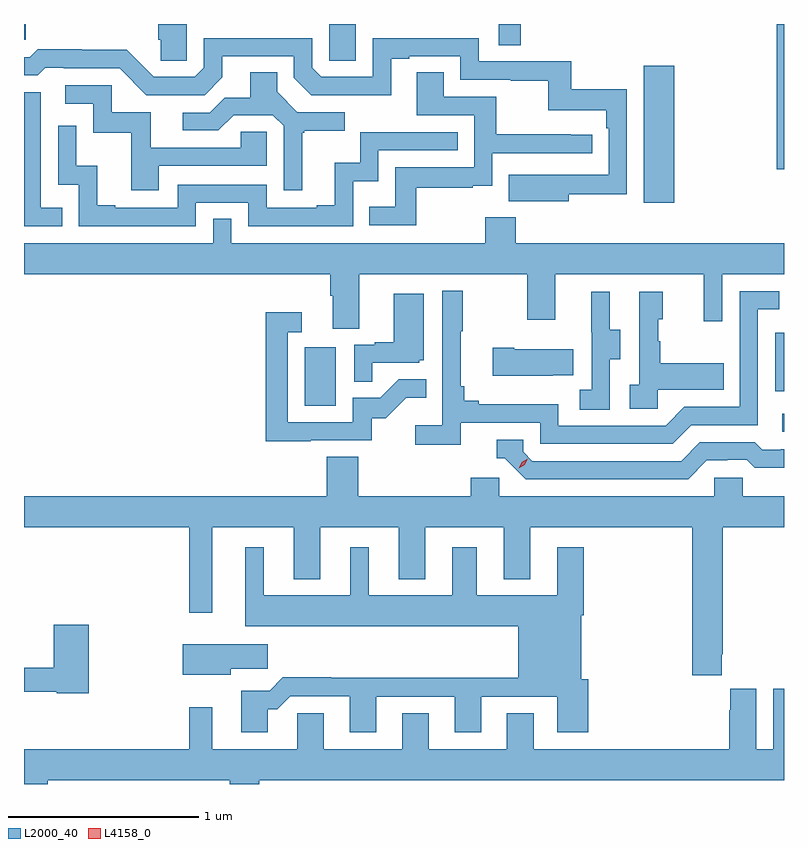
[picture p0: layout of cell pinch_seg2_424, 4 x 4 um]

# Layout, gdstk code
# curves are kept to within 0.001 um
import gdstk
lib = gdstk.Library(unit=1e-6, precision=1e-09)
def R(c, l, rs):  # rectangles x0, y0, x1, y1
    for r in rs: c.add(gdstk.rectangle(r[:2], r[2:], *l))
def P(c, l, *ps):  # polygons
    for p in ps: c.add(gdstk.Polygon(p, *l))
L2000_40 = (2000, 40)
L4158_0 = (4158, 0)

pinch_seg2_424 = lib.new_cell('pinch_seg2_424')
R(pinch_seg2_424, L2000_40, [(915.309,624.162,915.317,624.258), (912.794,624.3,912.958,624.607), (915.27,624.375,915.317,624.684), (914.579,625.368,914.74,626.089), (915.278,625.545,915.317,626.309), (912.924,626.116,913.063,626.309), (913.815,626.197,913.931,626.309), (911.317,626.226,911.325,626.309)])
P(pinch_seg2_424, L2000_40, [(912.174,626.309),(912.023,626.309),(912.023,626.226),(912.037,626.226),(912.037,626.116),(912.174,626.116)],
  [(914.185,625.414),(914.49,625.414),(914.49,625.966),(914.197,625.966),(914.197,626.112),(913.71,626.112),(913.71,626.235),(913.152,626.235),(913.152,626.031),(912.882,626.031),(912.834,626.079),(912.834,626.235),(912.264,626.235),(912.264,626.079),(912.216,626.031),(912,626.031),(911.858,626.173),(911.622,626.173),(911.622,626.176),(911.389,626.176),(911.347,626.133),(911.317,626.133),(911.317,626.04),(911.389,626.04),(911.428,626.079),(911.527,626.079),(911.527,626.076),(911.82,626.076),(911.961,625.935),(912.267,625.935),(912.361,626.029),(912.361,626.139),(912.738,626.139),(912.738,626.025),(912.828,625.935),(913.249,625.934),(913.249,626.127),(913.345,626.127),(913.345,626.139),(913.614,626.139),(913.614,626.016),(913.879,626.016),(913.879,626.011),(914.076,626.011),(914.076,625.856),(914.381,625.856),(914.381,625.76),(914.394,625.76),(914.394,625.515),(913.867,625.516),(913.867,625.376),(914.185,625.376)],
  [(913.381,625.446),(913.679,625.446),(913.679,625.457),(913.782,625.457),(913.782,625.629),(914.308,625.629),(914.308,625.725),(914.195,625.725),(914.195,625.73),(913.802,625.73),(913.802,625.926),(913.525,625.926),(913.525,626.054),(913.385,626.054),(913.385,625.83),(913.686,625.83),(913.686,625.554),(913.27,625.554),(913.27,625.348),(913.135,625.348),(913.135,625.251),(913.381,625.251)],
  [(912.781,625.737),(912.793,625.737),(912.793,625.748),(913.006,625.748),(913.006,625.845),(912.756,625.845),(912.649,625.952),(912.649,626.054),(912.509,626.054),(912.509,625.922),(912.374,625.922),(912.294,625.842),(912.153,625.842),(912.153,625.749),(912.34,625.749),(912.421,625.83),(912.627,625.83),(912.684,625.773),(912.684,625.434),(912.781,625.434)],
  [(912.025,625.563),(912.594,625.563),(912.594,625.743),(912.457,625.743),(912.457,625.659),(911.983,625.659),(911.983,625.845),(911.778,625.845),(911.778,625.986),(911.535,625.986),(911.535,625.89),(911.682,625.89),(911.682,625.737),(911.881,625.737),(911.881,625.434),(912.025,625.434)],
  [(911.519,625.341),(911.406,625.341),(911.406,625.95),(911.317,625.95),(911.317,625.245),(911.519,625.245)],
  [(912.222,625.368),(912.498,625.368),(912.498,625.245),(913.05,625.245),(913.05,625.481),(913.182,625.481),(913.182,625.644),(913.601,625.644),(913.601,625.74),(913.086,625.74),(913.086,625.579),(912.953,625.579),(912.953,625.354),(912.857,625.354),(912.857,625.341),(912.594,625.341),(912.594,625.464),(912.126,625.464),(912.126,625.341),(911.797,625.341),(911.797,625.354),(911.702,625.354),(911.702,625.562),(911.592,625.562),(911.592,625.774),(911.496,625.774),(911.496,625.464),(911.604,625.464),(911.604,625.245),(912.222,625.245)],
  [(913.081,624.992),(913.966,624.992),(913.966,624.753),(914.113,624.753),(914.113,624.992),(914.894,624.992),(914.894,624.744),(914.991,624.744),(914.991,624.992),(915.317,624.992),(915.317,625.156),(913.904,625.156),(913.904,625.291),(913.744,625.291),(913.744,625.156),(912.408,625.156),(912.408,625.283),(912.312,625.283),(912.312,625.156),(911.317,625.156),(911.317,624.992),(912.929,624.992),(912.929,624.88),(912.941,624.88),(912.941,624.706),(913.081,624.706)],
  [(913.616,624.21),(914.034,624.21),(914.034,624.099),(914.731,624.099),(914.83,624.198),(915.18,624.198),(915.18,624.807),(915.293,624.807),(915.293,624.903),(915.084,624.903),(915.084,624.294),(914.793,624.294),(914.694,624.195),(914.13,624.195),(914.13,624.307),(913.711,624.307),(913.711,624.326),(913.634,624.326),(913.634,624.403),(913.615,624.403),(913.615,624.691),(913.627,624.691),(913.627,624.904),(913.518,624.904),(913.518,624.196),(913.377,624.196),(913.377,624.094),(913.616,624.094)],
  [(914.652,624.383),(914.999,624.383),(914.999,624.523),(914.665,624.523),(914.665,624.638),(914.655,624.638),(914.655,624.756),(914.68,624.756),(914.68,624.901),(914.556,624.901),(914.556,624.41),(914.505,624.41),(914.505,624.285),(914.652,624.285)],
  [(914.4,624.544),(914.455,624.544),(914.455,624.699),(914.401,624.699),(914.401,624.901),(914.303,624.901),(914.303,624.687),(914.304,624.687),(914.304,624.383),(914.241,624.383),(914.241,624.28),(914.4,624.28)],
  [(913.151,624.525),(913.398,624.525),(913.398,624.54),(913.42,624.54),(913.42,624.889),(913.262,624.889),(913.262,624.634),(913.163,624.634),(913.163,624.621),(913.056,624.621),(913.056,624.427),(913.151,624.427)],
  [(912.827,624.117),(913.146,624.117),(913.146,624.234),(913.222,624.234),(913.329,624.341),(913.433,624.341),(913.433,624.44),(913.289,624.44),(913.191,624.342),(913.047,624.342),(913.047,624.213),(912.705,624.213),(912.705,624.687),(912.778,624.687),(912.778,624.793),(912.589,624.793),(912.589,624.112),(912.827,624.112)],
  [(914.099,624.461),(914.207,624.461),(914.207,624.598),(913.897,624.598),(913.897,624.606),(913.785,624.606),(913.785,624.458),(914.099,624.458)],
  [(914.911,624.012),(915.018,624.012),(915.018,624.015),(915.121,624.015),(915.163,623.973),(915.317,623.973),(915.317,624.072),(915.301,624.072),(915.301,624.069),(915.202,624.069),(915.163,624.108),(914.874,624.108),(914.775,624.009),(913.992,624.009),(913.944,624.057),(913.944,624.12),(913.805,624.12),(913.805,624.024),(913.848,624.024),(913.959,623.913),(914.812,623.913)],
  [(914.989,622.993),(914.994,622.993),(914.994,623.66),(915.317,623.66),(915.317,623.824),(915.099,623.824),(915.099,623.922),(914.949,623.922),(914.949,623.824),(913.818,623.824),(913.818,623.922),(913.667,623.922),(913.667,623.824),(913.076,623.824),(913.076,624.032),(912.911,624.032),(912.911,623.824),(911.317,623.824),(911.317,623.66),(912.186,623.66),(912.186,623.211),(912.307,623.211),(912.307,623.66),(912.737,623.66),(912.737,623.387),(912.877,623.387),(912.877,623.66),(913.289,623.66),(913.289,623.387),(913.429,623.387),(913.429,623.66),(913.841,623.66),(913.841,623.387),(913.981,623.387),(913.981,623.66),(914.834,623.66),(914.834,622.881),(914.989,622.881)],
  [(912.601,622.703),(912.65,622.703),(912.717,622.77),(913.031,622.77),(913.031,622.581),(913.171,622.581),(913.171,622.767),(913.583,622.767),(913.583,622.581),(913.723,622.581),(913.723,622.767),(914.123,622.767),(914.123,622.581),(914.288,622.581),(914.288,622.86),(914.251,622.86),(914.251,623.198),(914.264,623.198),(914.264,623.554),(914.123,623.554),(914.123,623.302),(913.699,623.302),(913.699,623.554),(913.571,623.554),(913.571,623.302),(913.132,623.302),(913.132,623.554),(913.034,623.554),(913.034,623.302),(912.58,623.302),(912.58,623.554),(912.482,623.554),(912.482,623.138),(913.919,623.138),(913.919,622.868),(912.935,622.868),(912.935,622.871),(912.68,622.871),(912.61,622.801),(912.461,622.801),(912.461,622.581),(912.601,622.581)],
  [(911.657,623.146),(911.474,623.146),(911.474,622.922),(911.317,622.922),(911.317,622.794),(911.49,622.794),(911.49,622.786),(911.657,622.786)],
  [(912.406,622.915),(912.601,622.915),(912.601,623.044),(912.152,623.044),(912.152,622.883),(912.406,622.883)],
  [(911.441,622.328),(912.401,622.328),(912.401,622.309),(912.554,622.309),(912.554,622.328),(915.317,622.328),(915.317,622.81),(915.26,622.81),(915.26,622.492),(915.172,622.492),(915.172,622.81),(915.035,622.81),(915.035,622.697),(915.029,622.697),(915.029,622.492),(913.999,622.492),(913.999,622.682),(913.859,622.682),(913.859,622.492),(913.447,622.492),(913.447,622.682),(913.307,622.682),(913.307,622.492),(912.895,622.492),(912.895,622.682),(912.756,622.682),(912.756,622.492),(912.307,622.492),(912.307,622.714),(912.186,622.714),(912.186,622.492),(911.317,622.492),(911.317,622.309),(911.441,622.309)])
P(pinch_seg2_424, L4158_0, [(913.922,623.97),(913.922,623.97),(913.938,624.003),(913.968,624.022),(913.969,624.022),(913.969,624.022),(913.953,623.989),(913.922,623.97)])

lib.write_gds('pinch_seg2_424.gds')
